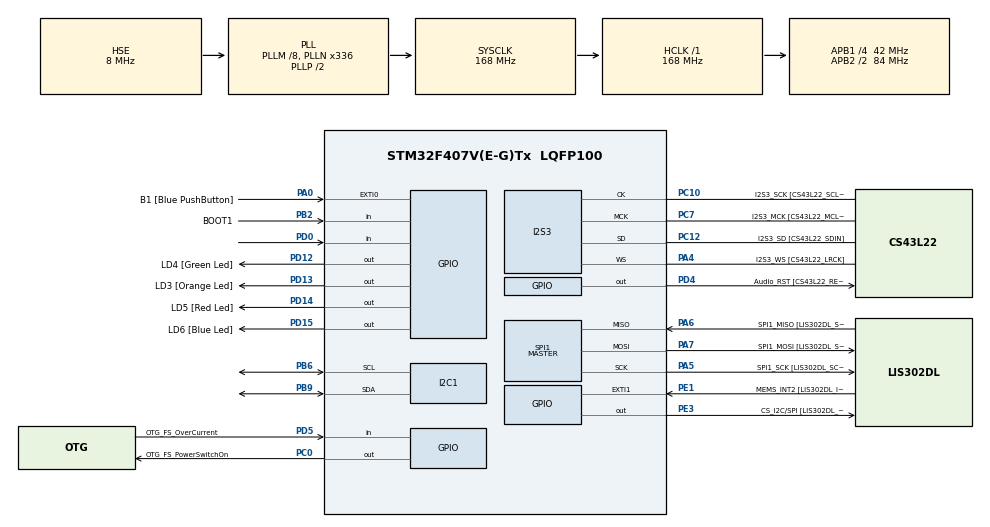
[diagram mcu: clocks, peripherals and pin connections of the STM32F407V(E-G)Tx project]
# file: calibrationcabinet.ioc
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FREERTOS.Events01=sysStateEventGroup,Dynamic,NULL
FREERTOS.INCLUDE_uxTaskGetStackHighWaterMark2=1
FREERTOS.Mutexes01=actuatorMutex,Dynamic,NULL,Available;i2cMutex,Dynamic,NULL,Available
FREERTOS.Queues01=sensorDataQueue,4,16,1,Dynamic,NULL,NULL;userCmdQueue,8,16,1,Dynamic,NULL,NULL;lcdRenderQueue,8,32,1,Dynamic,NULL,NULL
FREERTOS.Tasks01=supervisorTask,40,512,StartSupervisorTask,Default,NULL,Dynamic,NULL,NULL;controlTask,32,512,StartControlTask,Default,NULL,Dynamic,NULL,NULL;sensorTask,24,384,StartSensorTask,Default,NULL,Dynamic,NULL,NULL;commTask,24,512,StartCommTask,Default,NULL,Dynamic,NULL,NULL;uiTask,16,512,StartUiTask,Default,NULL,Dynamic,NULL,NULL
FREERTOS.Timers01=stableCheckTimer,stableCheckTimerCallback,osTimerPeriodic,Default,NULL,Dynamic,NULL
FREERTOS.configCHECK_FOR_STACK_OVERFLOW=2
FREERTOS.configTOTAL_HEAP_SIZE=20480
FREERTOS.configUSE_MALLOC_FAILED_HOOK=1
FREERTOS.configUSE_NEWLIB_REENTRANT=1
I2S3.AudioFreq-Half_Duplex_Master=I2S_AUDIOFREQ_96K
I2S3.ErrorAudioFreq=-2.34 %
I2S3.ErrorAudioFreq-Half_Duplex_Master=0.8 %
I2S3.FullDuplexMode=I2S_FULLDUPLEXMODE_DISABLE
I2S3.Instance=SPI$Index
I2S3.RealAudioFreq=93.75 KHz
I2S3.RealAudioFreq-Half_Duplex_Master=96.774 KHz
I2S3.VirtualMode=I2S_MODE_MASTER
Mcu.Family=STM32F4
Mcu.Name=STM32F407V(E-G)Tx
Mcu.Package=LQFP100
NVIC.PriorityGroup=NVIC_PRIORITYGROUP_4
NVIC.TIM6_DAC_IRQn=true\:15\:0\:false\:false\:true\:false\:false\:true\:true
NVIC.TimeBase=TIM6_DAC_IRQn
NVIC.TimeBaseIP=TIM6
PA0-WKUP.GPIO_Label=B1 [Blue PushButton]
PA0-WKUP.GPIO_ModeDefaultEXTI=GPIO_MODE_EVT_RISING
PA0-WKUP.GPIO_PuPd=GPIO_NOPULL
PA0-WKUP.Signal=GPXTI0
PA10.GPIO_Label=OTG_FS_ID
PA10.GPIO_Mode=GPIO_MODE_AF_PP
PA10.GPIO_PuPd=GPIO_NOPULL
PA10.GPIO_Speed=GPIO_SPEED_FREQ_LOW
PA10.Signal=USB_OTG_FS_ID
PA11.GPIO_Label=OTG_FS_DM
PA11.GPIO_Mode=GPIO_MODE_AF_PP
PA11.GPIO_PuPd=GPIO_NOPULL
PA11.GPIO_Speed=GPIO_SPEED_FREQ_LOW
PA11.Signal=USB_OTG_FS_DM
PA12.GPIO_Label=OTG_FS_DP
PA12.GPIO_Mode=GPIO_MODE_AF_PP
PA12.GPIO_PuPd=GPIO_NOPULL
PA12.GPIO_Speed=GPIO_SPEED_FREQ_LOW
PA12.Signal=USB_OTG_FS_DP
PA13.GPIO_Label=SWDIO
PA13.Mode=Serial_Wire
PA13.Signal=SYS_JTMS-SWDIO
PA14.GPIO_Label=SWCLK
PA14.Mode=Serial_Wire
PA14.Signal=SYS_JTCK-SWCLK
PA4.GPIO_Label=I2S3_WS [CS43L22_LRCK]
PA4.GPIO_Mode=GPIO_MODE_AF_PP
PA4.GPIO_PuPd=GPIO_NOPULL
PA4.GPIO_Speed=GPIO_SPEED_FREQ_LOW
PA4.Mode=Half_Duplex_Master
PA4.Signal=I2S3_WS
PA5.GPIO_Label=SPI1_SCK [LIS302DL_SCL/SPC]
PA5.GPIO_Mode=GPIO_MODE_AF_PP
PA5.GPIO_PuPd=GPIO_NOPULL
PA5.GPIO_Speed=GPIO_SPEED_FREQ_LOW
PA5.Mode=Full_Duplex_Master
PA5.Signal=SPI1_SCK
PA6.GPIO_Label=SPI1_MISO [LIS302DL_SDO]
PA6.GPIO_Mode=GPIO_MODE_AF_PP
PA6.GPIO_PuPd=GPIO_NOPULL
PA6.GPIO_Speed=GPIO_SPEED_FREQ_LOW
PA6.Mode=Full_Duplex_Master
PA6.Signal=SPI1_MISO
PA7.GPIO_Label=SPI1_MOSI [LIS302DL_SDA/SDI/SDO]
PA7.GPIO_Mode=GPIO_MODE_AF_PP
PA7.GPIO_PuPd=GPIO_NOPULL
PA7.GPIO_Speed=GPIO_SPEED_FREQ_LOW
PA7.Mode=Full_Duplex_Master
PA7.Signal=SPI1_MOSI
PA9.GPIO_Label=VBUS_FS
PA9.GPIO_Mode=GPIO_MODE_INPUT
PA9.GPIO_PuPd=GPIO_NOPULL
PA9.Signal=USB_OTG_FS_VBUS
PB10.GPIO_Label=CLK_IN [MP45DT02_CLK]
PB10.GPIO_Mode=GPIO_MODE_AF_PP
PB10.GPIO_PuPd=GPIO_NOPULL
PB10.GPIO_Speed=GPIO_SPEED_FREQ_LOW
PB10.Signal=I2S2_CK
PB2.GPIO_Label=BOOT1
PB2.GPIO_Mode=GPIO_MODE_INPUT
PB2.GPIO_PuPd=GPIO_NOPULL
PB2.Signal=GPIO_Input
PB3.GPIO_Label=SWO
PB3.Signal=SYS_JTDO-SWO
PB6.Mode=I2C
PB6.Signal=I2C1_SCL
PB9.Mode=I2C
PB9.Signal=I2C1_SDA
PC0.GPIO_Label=OTG_FS_PowerSwitchOn
PC0.GPIO_PuPd=GPIO_NOPULL
PC0.GPIO_Speed=GPIO_SPEED_FREQ_LOW
PC0.PinState=GPIO_PIN_SET
PC0.Signal=GPIO_Output
PC10.GPIO_Label=I2S3_SCK [CS43L22_SCLK]
PC10.GPIO_Mode=GPIO_MODE_AF_PP
PC10.GPIO_PuPd=GPIO_NOPULL
PC10.GPIO_Speed=GPIO_SPEED_FREQ_LOW
PC10.Mode=Half_Duplex_Master
PC10.Signal=I2S3_CK
PC12.GPIO_Label=I2S3_SD [CS43L22_SDIN]
PC12.GPIO_Mode=GPIO_MODE_AF_PP
PC12.GPIO_PuPd=GPIO_NOPULL
PC12.GPIO_Speed=GPIO_SPEED_FREQ_LOW
PC12.Mode=Half_Duplex_Master
PC12.Signal=I2S3_SD
PC14-OSC32_IN.GPIO_Label=PC14-OSC32_IN
PC14-OSC32_IN.Mode=LSE-External-Oscillator
PC14-OSC32_IN.Signal=RCC_OSC32_IN
PC15-OSC32_OUT.GPIO_Label=PC15-OSC32_OUT
PC15-OSC32_OUT.Mode=LSE-External-Oscillator
PC15-OSC32_OUT.Signal=RCC_OSC32_OUT
PC3.GPIO_Label=PDM_OUT [MP45DT02_DOUT]
PC3.GPIO_Mode=GPIO_MODE_AF_PP
PC3.GPIO_PuPd=GPIO_NOPULL
PC3.GPIO_Speed=GPIO_SPEED_FREQ_LOW
PC3.Signal=I2S2_SD
PC7.GPIO_Label=I2S3_MCK [CS43L22_MCLK]
PC7.GPIO_Mode=GPIO_MODE_AF_PP
PC7.GPIO_PuPd=GPIO_NOPULL
PC7.GPIO_Speed=GPIO_SPEED_FREQ_LOW
PC7.Mode=Master_Clock_Activated
PC7.Signal=I2S3_MCK
PD0.Signal=GPIO_Input
PD12.GPIO_Label=LD4 [Green Led]
PD12.GPIO_PuPd=GPIO_NOPULL
PD12.GPIO_Speed=GPIO_SPEED_FREQ_LOW
PD12.Signal=GPIO_Output
PD13.GPIO_Label=LD3 [Orange Led]
PD13.GPIO_PuPd=GPIO_NOPULL
PD13.GPIO_Speed=GPIO_SPEED_FREQ_LOW
PD13.Signal=GPIO_Output
PD14.GPIO_Label=LD5 [Red Led]
PD14.GPIO_PuPd=GPIO_NOPULL
PD14.GPIO_Speed=GPIO_SPEED_FREQ_LOW
PD14.Signal=GPIO_Output
PD15.GPIO_Label=LD6 [Blue Led]
PD15.GPIO_PuPd=GPIO_NOPULL
PD15.GPIO_Speed=GPIO_SPEED_FREQ_LOW
PD15.Signal=GPIO_Output
PD4.GPIO_Label=Audio_RST [CS43L22_RESET]
PD4.GPIO_PuPd=GPIO_NOPULL
PD4.GPIO_Speed=GPIO_SPEED_FREQ_LOW
PD4.Signal=GPIO_Output
PD5.GPIO_Label=OTG_FS_OverCurrent
PD5.GPIO_Mode=GPIO_MODE_INPUT
PD5.GPIO_PuPd=GPIO_NOPULL
PD5.Signal=GPIO_Input
PE1.GPIO_Label=MEMS_INT2 [LIS302DL_INT2]
PE1.GPIO_ModeDefaultEXTI=GPIO_MODE_EVT_RISING
PE1.GPIO_PuPd=GPIO_NOPULL
PE1.Signal=GPXTI1
PE3.GPIO_Label=CS_I2C/SPI [LIS302DL_CS_I2C/SPI]
PE3.GPIO_PuPd=GPIO_NOPULL
PE3.GPIO_Speed=GPIO_SPEED_FREQ_LOW
PE3.Signal=GPIO_Output
PH0-OSC_IN.GPIO_Label=PH0-OSC_IN
PH0-OSC_IN.Mode=HSE-External-Oscillator
PH0-OSC_IN.Signal=RCC_OSC_IN
PH1-OSC_OUT.GPIO_Label=PH1-OSC_OUT
PH1-OSC_OUT.Mode=HSE-External-Oscillator
PH1-OSC_OUT.Signal=RCC_OSC_OUT
ProjectManager.HeapSize=0x200
ProjectManager.StackSize=0x400
ProjectManager.TargetToolchain=STM32CubeIDE
RCC.48MHZClocksFreq_Value=48000000
RCC.AHBFreq_Value=168000000
RCC.APB1CLKDivider=RCC_HCLK_DIV4
RCC.APB1Freq_Value=42000000
RCC.APB1TimFreq_Value=84000000
RCC.APB2CLKDivider=RCC_HCLK_DIV2
RCC.APB2Freq_Value=84000000
RCC.APB2TimFreq_Value=168000000
RCC.CortexFreq_Value=168000000
RCC.HCLKFreq_Value=168000000
RCC.HSE_VALUE=8000000
RCC.HSI_VALUE=16000000
RCC.PLLM=8
RCC.PLLN=336
RCC.PLLQ=7
RCC.PLLSourceVirtual=RCC_PLLSOURCE_HSE
RCC.SYSCLKFreq_VALUE=168000000
RCC.SYSCLKSource=RCC_SYSCLKSOURCE_PLLCLK
RCC.VCOOutputFreq_Value=336000000
SPI1.BaudRatePrescaler-Full_Duplex_Master=SPI_BAUDRATEPRESCALER_2
SPI1.CalculateBaudRate-Full_Duplex_Master=42.0 MBits/s
SPI1.Direction=SPI_DIRECTION_2LINES
SPI1.Mode=SPI_MODE_MASTER
SPI1.Mode-Full_Duplex_Master=SPI_MODE_MASTER
SPI1.VirtualType=VM_MASTER
VP_FREERTOS_VS_CMSIS_V2.Mode=CMSIS_V2
VP_SYS_VS_tim6.Mode=TIM6
board=STM32F407G-DISC1

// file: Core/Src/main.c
/* USER CODE BEGIN Header */
/**
  ******************************************************************************
  * @file           : main.c
  * @brief          : Main program body
  ******************************************************************************
  * @attention
  *
  * Copyright (c) 2026 STMicroelectronics.
  * All rights reserved.
  *
  * This software is licensed under terms that can be found in the LICENSE file
  * in the root directory of this software component.
  * If no LICENSE file comes with this software, it is provided AS-IS.
  *
  ******************************************************************************
  */
/* USER CODE END Header */
#include "main.h"
#include "cmsis_os.h"

/* USER CODE BEGIN Includes */
#include "cabinet_ui.h"
#include "comms.h"
#include "dhtsensor.h"
#include "humidity.h"
#include "state_machine.h"
#include "thermal.h"
/* USER CODE END Includes */

/* USER CODE BEGIN PD */
#define SENSOR_PERIOD_MS         2000U
#define CONTROL_QUEUE_TIMEOUT_MS 2500U
#define UI_PERIOD_MS               20U
#define COMMS_PERIOD_MS            50U
#define SUPERVISOR_PERIOD_MS     1000U
/* USER CODE END PD */

I2C_HandleTypeDef hi2c1;

I2S_HandleTypeDef hi2s3;

SPI_HandleTypeDef hspi1;

/* Definitions for supervisorTask */
osThreadId_t supervisorTaskHandle;
const osThreadAttr_t supervisorTask_attributes = {
  .name = "supervisorTask",
  .stack_size = 512 * 4,
  .priority = (osPriority_t) osPriorityHigh,
};
/* Definitions for controlTask */
osThreadId_t controlTaskHandle;
const osThreadAttr_t controlTask_attributes = {
  .name = "controlTask",
  .stack_size = 512 * 4,
  .priority = (osPriority_t) osPriorityAboveNormal,
};
/* Definitions for sensorTask */
osThreadId_t sensorTaskHandle;
const osThreadAttr_t sensorTask_attributes = {
  .name = "sensorTask",
  .stack_size = 384 * 4,
  .priority = (osPriority_t) osPriorityNormal,
};
/* Definitions for commTask */
osThreadId_t commTaskHandle;
const osThreadAttr_t commTask_attributes = {
  .name = "commTask",
  .stack_size = 512 * 4,
  .priority = (osPriority_t) osPriorityNormal,
};
/* Definitions for uiTask */
osThreadId_t uiTaskHandle;
const osThreadAttr_t uiTask_attributes = {
  .name = "uiTask",
  .stack_size = 1024 * 4,
  .priority = (osPriority_t) osPriorityBelowNormal,
};
/* Definitions for sensorDataQueue */
osMessageQueueId_t sensorDataQueueHandle;
const osMessageQueueAttr_t sensorDataQueue_attributes = {
  .name = "sensorDataQueue"
};
/* Definitions for userCmdQueue */
osMessageQueueId_t userCmdQueueHandle;
const osMessageQueueAttr_t userCmdQueue_attributes = {
  .name = "userCmdQueue"
};
/* Definitions for lcdRenderQueue */
osMessageQueueId_t lcdRenderQueueHandle;
const osMessageQueueAttr_t lcdRenderQueue_attributes = {
  .name = "lcdRenderQueue"
};
/* Definitions for stableCheckTimer */
osTimerId_t stableCheckTimerHandle;
const osTimerAttr_t stableCheckTimer_attributes = {
  .name = "stableCheckTimer"
};
/* Definitions for actuatorMutex */
osMutexId_t actuatorMutexHandle;
const osMutexAttr_t actuatorMutex_attributes = {
  .name = "actuatorMutex"
};
/* Definitions for i2cMutex */
osMutexId_t i2cMutexHandle;
const osMutexAttr_t i2cMutex_attributes = {
  .name = "i2cMutex"
};
/* Definitions for sysStateEventGroup */
osEventFlagsId_t sysStateEventGroupHandle;
const osEventFlagsAttr_t sysStateEventGroup_attributes = {
  .name = "sysStateEventGroup"
};

void SystemClock_Config(void);
static void MX_GPIO_Init(void);
static void MX_I2C1_Init(void);
static void MX_I2S3_Init(void);
static void MX_SPI1_Init(void);
void StartSupervisorTask(void *argument);
void StartControlTask(void *argument);
void StartSensorTask(void *argument);
void StartCommTask(void *argument);
void StartUiTask(void *argument);
void stableCheckTimerCallback(void *argument);

int main(void)
{

  /* MCU Configuration--------------------------------------------------------*/

  /* Reset of all peripherals, Initializes the Flash interface and the Systick. */
  HAL_Init();

  /* Configure the system clock */
  SystemClock_Config();

  /* Initialize all configured peripherals */
  MX_GPIO_Init();
  MX_I2C1_Init();
  MX_I2S3_Init();
  MX_SPI1_Init();
  /* USER CODE BEGIN 2 */
  CabinetUI_Init(&hi2c1);
  DHT22_Init(GPIOD, GPIO_PIN_0);
  Thermal_Init(&k_default_pid);
  Humidity_Init();
  Comms_Init();
  Thermal_ApplyOutput(0.0f);
  Humidity_AllOff();
  /* USER CODE END 2 */

  /* Init scheduler */
  osKernelInitialize();
  /* Create the mutex(es) */
  /* creation of actuatorMutex */
  actuatorMutexHandle = osMutexNew(&actuatorMutex_attributes);

  /* creation of i2cMutex */
  i2cMutexHandle = osMutexNew(&i2cMutex_attributes);

  /* Create the timer(s) */
  /* creation of stableCheckTimer */
  stableCheckTimerHandle = osTimerNew(stableCheckTimerCallback, osTimerPeriodic, NULL, &stableCheckTimer_attributes);

  /* USER CODE BEGIN RTOS_TIMERS */
  /* Stable-check timer is always running; the callback gates on FSM state
   * (RUNNING/STANDBY) per TDR §3.4. */
  osTimerStart(stableCheckTimerHandle, 1000U);
  /* USER CODE END RTOS_TIMERS */

  /* Create the queue(s) */
  /* creation of sensorDataQueue */
  sensorDataQueueHandle = osMessageQueueNew (4, 16, &sensorDataQueue_attributes);

  /* creation of userCmdQueue */
  userCmdQueueHandle = osMessageQueueNew (8, 16, &userCmdQueue_attributes);

  /* creation of lcdRenderQueue */
  lcdRenderQueueHandle = osMessageQueueNew (8, 32, &lcdRenderQueue_attributes);

  /* Create the thread(s) */
  /* creation of supervisorTask */
  supervisorTaskHandle = osThreadNew(StartSupervisorTask, NULL, &supervisorTask_attributes);

  /* creation of controlTask */
  controlTaskHandle = osThreadNew(StartControlTask, NULL, &controlTask_attributes);

  /* creation of sensorTask */
  sensorTaskHandle = osThreadNew(StartSensorTask, NULL, &sensorTask_attributes);

  /* creation of commTask */
  commTaskHandle = osThreadNew(StartCommTask, NULL, &commTask_attributes);

  /* creation of uiTask */
  uiTaskHandle = osThreadNew(StartUiTask, NULL, &uiTask_attributes);

  /* creation of sysStateEventGroup */
  sysStateEventGroupHandle = osEventFlagsNew(&sysStateEventGroup_attributes);

  /* Start scheduler */
  osKernelStart();

  /* We should never get here as control is now taken by the scheduler */

  /* Infinite loop */
  while (1)
  {

  }
}

void SystemClock_Config(void)
{
  RCC_OscInitTypeDef RCC_OscInitStruct = {0};
  RCC_ClkInitTypeDef RCC_ClkInitStruct = {0};

  /** Configure the main internal regulator output voltage
  */
  __HAL_RCC_PWR_CLK_ENABLE();
  __HAL_PWR_VOLTAGESCALING_CONFIG(PWR_REGULATOR_VOLTAGE_SCALE1);

  /** Initializes the RCC Oscillators according to the specified parameters
  * in the RCC_OscInitTypeDef structure.
  */
  RCC_OscInitStruct.OscillatorType = RCC_OSCILLATORTYPE_HSE;
  RCC_OscInitStruct.HSEState = RCC_HSE_ON;
  RCC_OscInitStruct.PLL.PLLState = RCC_PLL_ON;
  RCC_OscInitStruct.PLL.PLLSource = RCC_PLLSOURCE_HSE;
  RCC_OscInitStruct.PLL.PLLM = 8;
  RCC_OscInitStruct.PLL.PLLN = 336;
  RCC_OscInitStruct.PLL.PLLP = RCC_PLLP_DIV2;
  RCC_OscInitStruct.PLL.PLLQ = 7;
  if (HAL_RCC_OscConfig(&RCC_OscInitStruct) != HAL_OK)
  {
    Error_Handler();
  }

  /** Initializes the CPU, AHB and APB buses clocks
  */
  RCC_ClkInitStruct.ClockType = RCC_CLOCKTYPE_HCLK|RCC_CLOCKTYPE_SYSCLK
                              |RCC_CLOCKTYPE_PCLK1|RCC_CLOCKTYPE_PCLK2;
  RCC_ClkInitStruct.SYSCLKSource = RCC_SYSCLKSOURCE_PLLCLK;
  RCC_ClkInitStruct.AHBCLKDivider = RCC_SYSCLK_DIV1;
  RCC_ClkInitStruct.APB1CLKDivider = RCC_HCLK_DIV4;
  RCC_ClkInitStruct.APB2CLKDivider = RCC_HCLK_DIV2;

  if (HAL_RCC_ClockConfig(&RCC_ClkInitStruct, FLASH_LATENCY_5) != HAL_OK)
  {
    Error_Handler();
  }
}

static void MX_I2C1_Init(void)
{

  hi2c1.Instance = I2C1;
  hi2c1.Init.ClockSpeed = 50000;
  hi2c1.Init.DutyCycle = I2C_DUTYCYCLE_2;
  hi2c1.Init.OwnAddress1 = 0;
  hi2c1.Init.AddressingMode = I2C_ADDRESSINGMODE_7BIT;
  hi2c1.Init.DualAddressMode = I2C_DUALADDRESS_DISABLE;
  hi2c1.Init.OwnAddress2 = 0;
  hi2c1.Init.GeneralCallMode = I2C_GENERALCALL_DISABLE;
  hi2c1.Init.NoStretchMode = I2C_NOSTRETCH_DISABLE;
  if (HAL_I2C_Init(&hi2c1) != HAL_OK)
  {
    Error_Handler();
  }

}

static void MX_I2S3_Init(void)
{

  hi2s3.Instance = SPI3;
  hi2s3.Init.Mode = I2S_MODE_MASTER_TX;
  hi2s3.Init.Standard = I2S_STANDARD_PHILIPS;
  hi2s3.Init.DataFormat = I2S_DATAFORMAT_16B;
  hi2s3.Init.MCLKOutput = I2S_MCLKOUTPUT_ENABLE;
  hi2s3.Init.AudioFreq = I2S_AUDIOFREQ_96K;
  hi2s3.Init.CPOL = I2S_CPOL_LOW;
  hi2s3.Init.ClockSource = I2S_CLOCK_PLL;
  hi2s3.Init.FullDuplexMode = I2S_FULLDUPLEXMODE_DISABLE;
  if (HAL_I2S_Init(&hi2s3) != HAL_OK)
  {
    Error_Handler();
  }

}

static void MX_SPI1_Init(void)
{

  /* SPI1 parameter configuration*/
  hspi1.Instance = SPI1;
  hspi1.Init.Mode = SPI_MODE_MASTER;
  hspi1.Init.Direction = SPI_DIRECTION_2LINES;
  hspi1.Init.DataSize = SPI_DATASIZE_8BIT;
  hspi1.Init.CLKPolarity = SPI_POLARITY_LOW;
  hspi1.Init.CLKPhase = SPI_PHASE_1EDGE;
  hspi1.Init.NSS = SPI_NSS_SOFT;
  hspi1.Init.BaudRatePrescaler = SPI_BAUDRATEPRESCALER_2;
  hspi1.Init.FirstBit = SPI_FIRSTBIT_MSB;
  hspi1.Init.TIMode = SPI_TIMODE_DISABLE;
  hspi1.Init.CRCCalculation = SPI_CRCCALCULATION_DISABLE;
  hspi1.Init.CRCPolynomial = 10;
  if (HAL_SPI_Init(&hspi1) != HAL_OK)
  {
    Error_Handler();
  }

}

static void MX_GPIO_Init(void)
{
  GPIO_InitTypeDef GPIO_InitStruct = {0};

  /* GPIO Ports Clock Enable */
  __HAL_RCC_GPIOE_CLK_ENABLE();
  __HAL_RCC_GPIOC_CLK_ENABLE();
  __HAL_RCC_GPIOH_CLK_ENABLE();
  __HAL_RCC_GPIOA_CLK_ENABLE();
  __HAL_RCC_GPIOB_CLK_ENABLE();
  __HAL_RCC_GPIOD_CLK_ENABLE();

  /*Configure GPIO pin Output Level */
  HAL_GPIO_WritePin(CS_I2C_SPI_GPIO_Port, CS_I2C_SPI_Pin, GPIO_PIN_RESET);

  /*Configure GPIO pin Output Level */
  HAL_GPIO_WritePin(OTG_FS_PowerSwitchOn_GPIO_Port, OTG_FS_PowerSwitchOn_Pin, GPIO_PIN_SET);

  /*Configure GPIO pin Output Level */
  HAL_GPIO_WritePin(GPIOD, LD4_Pin|LD3_Pin|LD5_Pin|LD6_Pin
                          |Audio_RST_Pin, GPIO_PIN_RESET);

  /*Configure GPIO pin : CS_I2C_SPI_Pin */
  GPIO_InitStruct.Pin = CS_I2C_SPI_Pin;
  GPIO_InitStruct.Mode = GPIO_MODE_OUTPUT_PP;
  GPIO_InitStruct.Pull = GPIO_NOPULL;
  GPIO_InitStruct.Speed = GPIO_SPEED_FREQ_LOW;
  HAL_GPIO_Init(CS_I2C_SPI_GPIO_Port, &GPIO_InitStruct);

  /*Configure GPIO pin : OTG_FS_PowerSwitchOn_Pin */
  GPIO_InitStruct.Pin = OTG_FS_PowerSwitchOn_Pin;
  GPIO_InitStruct.Mode = GPIO_MODE_OUTPUT_PP;
  GPIO_InitStruct.Pull = GPIO_NOPULL;
  GPIO_InitStruct.Speed = GPIO_SPEED_FREQ_LOW;
  HAL_GPIO_Init(OTG_FS_PowerSwitchOn_GPIO_Port, &GPIO_InitStruct);

  /*Configure GPIO pin : PDM_OUT_Pin */
  GPIO_InitStruct.Pin = PDM_OUT_Pin;
  GPIO_InitStruct.Mode = GPIO_MODE_AF_PP;
  GPIO_InitStruct.Pull = GPIO_NOPULL;
  GPIO_InitStruct.Speed = GPIO_SPEED_FREQ_LOW;
  GPIO_InitStruct.Alternate = GPIO_AF5_SPI2;
  HAL_GPIO_Init(PDM_OUT_GPIO_Port, &GPIO_InitStruct);

  /*Configure GPIO pin : B1_Pin */
  GPIO_InitStruct.Pin = B1_Pin;
  GPIO_InitStruct.Mode = GPIO_MODE_EVT_RISING;
  GPIO_InitStruct.Pull = GPIO_NOPULL;
  HAL_GPIO_Init(B1_GPIO_Port, &GPIO_InitStruct);

  /*Configure GPIO pin : BOOT1_Pin */
  GPIO_InitStruct.Pin = BOOT1_Pin;
  GPIO_InitStruct.Mode = GPIO_MODE_INPUT;
  GPIO_InitStruct.Pull = GPIO_NOPULL;
  HAL_GPIO_Init(BOOT1_GPIO_Port, &GPIO_InitStruct);

  /*Configure GPIO pin : CLK_IN_Pin */
  GPIO_InitStruct.Pin = CLK_IN_Pin;
  GPIO_InitStruct.Mode = GPIO_MODE_AF_PP;
  GPIO_InitStruct.Pull = GPIO_NOPULL;
  GPIO_InitStruct.Speed = GPIO_SPEED_FREQ_LOW;
  GPIO_InitStruct.Alternate = GPIO_AF5_SPI2;
  HAL_GPIO_Init(CLK_IN_GPIO_Port, &GPIO_InitStruct);

  /*Configure GPIO pins : LD4_Pin LD3_Pin LD5_Pin LD6_Pin
                           Audio_RST_Pin */
  GPIO_InitStruct.Pin = LD4_Pin|LD3_Pin|LD5_Pin|LD6_Pin
                          |Audio_RST_Pin;
  GPIO_InitStruct.Mode = GPIO_MODE_OUTPUT_PP;
  GPIO_InitStruct.Pull = GPIO_NOPULL;
  GPIO_InitStruct.Speed = GPIO_SPEED_FREQ_LOW;
  HAL_GPIO_Init(GPIOD, &GPIO_InitStruct);

  /*Configure GPIO pin : VBUS_FS_Pin */
  GPIO_InitStruct.Pin = VBUS_FS_Pin;
  GPIO_InitStruct.Mode = GPIO_MODE_INPUT;
  GPIO_InitStruct.Pull = GPIO_NOPULL;
  HAL_GPIO_Init(VBUS_FS_GPIO_Port, &GPIO_InitStruct);

  /*Configure GPIO pins : OTG_FS_ID_Pin OTG_FS_DM_Pin OTG_FS_DP_Pin */
  GPIO_InitStruct.Pin = OTG_FS_ID_Pin|OTG_FS_DM_Pin|OTG_FS_DP_Pin;
  GPIO_InitStruct.Mode = GPIO_MODE_AF_PP;
  GPIO_InitStruct.Pull = GPIO_NOPULL;
  GPIO_InitStruct.Speed = GPIO_SPEED_FREQ_LOW;
  GPIO_InitStruct.Alternate = GPIO_AF10_OTG_FS;
  HAL_GPIO_Init(GPIOA, &GPIO_InitStruct);

  /*Configure GPIO pins : PD0 OTG_FS_OverCurrent_Pin */
  GPIO_InitStruct.Pin = GPIO_PIN_0|OTG_FS_OverCurrent_Pin;
  GPIO_InitStruct.Mode = GPIO_MODE_INPUT;
  GPIO_InitStruct.Pull = GPIO_NOPULL;
  HAL_GPIO_Init(GPIOD, &GPIO_InitStruct);

  /*Configure GPIO pin : MEMS_INT2_Pin */
  GPIO_InitStruct.Pin = MEMS_INT2_Pin;
  GPIO_InitStruct.Mode = GPIO_MODE_EVT_RISING;
  GPIO_InitStruct.Pull = GPIO_NOPULL;
  HAL_GPIO_Init(MEMS_INT2_GPIO_Port, &GPIO_InitStruct);

  /* USER CODE BEGIN MX_GPIO_Init_2 */
  HAL_GPIO_WritePin(GPIOE, KEYPAD_R1_Pin|KEYPAD_R2_Pin|KEYPAD_R3_Pin|KEYPAD_R4_Pin, GPIO_PIN_SET);

  GPIO_InitStruct.Pin = KEYPAD_R1_Pin|KEYPAD_R2_Pin|KEYPAD_R3_Pin|KEYPAD_R4_Pin;
  GPIO_InitStruct.Mode = GPIO_MODE_OUTPUT_PP;
  GPIO_InitStruct.Pull = GPIO_NOPULL;
  GPIO_InitStruct.Speed = GPIO_SPEED_FREQ_LOW;
  HAL_GPIO_Init(GPIOE, &GPIO_InitStruct);

  GPIO_InitStruct.Pin = KEYPAD_C1_Pin|KEYPAD_C2_Pin|KEYPAD_C3_Pin|KEYPAD_C4_Pin;
  GPIO_InitStruct.Mode = GPIO_MODE_INPUT;
  GPIO_InitStruct.Pull = GPIO_PULLUP;
  HAL_GPIO_Init(GPIOE, &GPIO_InitStruct);

  /* B1 user button as EXTI rising edge → posts EV_STOP to FSM. Override the
   * CubeMX-generated EVT_RISING mode (event-only, no IRQ). */
  GPIO_InitStruct.Pin  = B1_Pin;
  GPIO_InitStruct.Mode = GPIO_MODE_IT_RISING;
  GPIO_InitStruct.Pull = GPIO_NOPULL;
  HAL_GPIO_Init(B1_GPIO_Port, &GPIO_InitStruct);

  /* Priority must be >= configMAX_SYSCALL_INTERRUPT_PRIORITY (default 5) so
   * the ISR can call FreeRTOS API. */
  HAL_NVIC_SetPriority(EXTI0_IRQn, 6, 0);
  HAL_NVIC_EnableIRQ(EXTI0_IRQn);
  /* USER CODE END MX_GPIO_Init_2 */
}

/* USER CODE BEGIN 4 */
void HAL_GPIO_EXTI_Callback(uint16_t GPIO_Pin)
{
  if (GPIO_Pin == B1_Pin)
  {
    StateMachine_PostEvent(EV_STOP);
  }
}
/* USER CODE END 4 */

void StartSupervisorTask(void *argument)
{
  /* USER CODE BEGIN 5 */
  (void)argument;
  StateMachine_Init();
  for (;;)
  {
    StateMachine_RunStep();
  }
  /* USER CODE END 5 */
}

void StartControlTask(void *argument)
{
  /* USER CODE BEGIN StartControlTask */
  (void)argument;

  sensor_frame_t f;
  uint32_t       last_pid_tick = osKernelGetTickCount();

  for (;;)
  {
    osStatus_t st = osMessageQueueGet(sensorDataQueueHandle, &f, NULL,
                                      CONTROL_QUEUE_TIMEOUT_MS);

    /* Sensor task silent → safe-state actuators and notify FSM. */
    if (st != osOK)
    {
      Thermal_SetEnabled(0U);
      Thermal_Reset();
      Humidity_AllOff();
      StateMachine_PostEvent(EV_SENSOR_TIMEOUT);
      last_pid_tick = osKernelGetTickCount();
      continue;
    }

    /* Drive FSM from sensor frame quality. */
    if (f.consecutive_fails >= COMMS_SENSOR_FAIL_THRESHOLD) {
      StateMachine_PostEvent(EV_SENSOR_FAULT);
    }
    if ((f.valid != 0U) && (f.temperature_c > COMMS_OVER_TEMP_LIMIT_C)) {
      StateMachine_PostEvent(EV_OVER_TEMP);
    }

    const CabinetUI_SettingsTypeDef *settings = CabinetUI_GetSettings();
    float setpoint_temp_c = (float)settings->set_temperature_x10 / 10.0f;
    float setpoint_hum_rh = (float)settings->set_humidity;

    /* Push snapshot for the stable-check timer. Always update so the timer
     * sees fresh data even when actuators are disabled. */
    StateMachine_UpdatePidSnapshot(f.temperature_c, f.humidity_rh,
                                   setpoint_temp_c, setpoint_hum_rh);

    system_state_t state             = StateMachine_Get();
    uint8_t        actuators_enabled = ((state == STATE_RUNNING) ||
                                        (state == STATE_STANDBY)) &&
                                       (f.valid != 0U);

    uint32_t now  = osKernelGetTickCount();
    float    dt_s = (float)(now - last_pid_tick) / (float)osKernelGetTickFreq();
    last_pid_tick = now;
    /* First iteration after enable / queue-timeout recovery: clamp dt to a
     * sane value so the integrator/derivative don't see a giant first step. */
    if (dt_s <= 0.0f || dt_s > 5.0f) {
      dt_s = 1.0f;
    }

    if (actuators_enabled)
    {
      Thermal_SetEnabled(1U);
      Thermal_SetSetpoint(setpoint_temp_c);
      float u = Thermal_Step(f.temperature_c, dt_s);
      Thermal_ApplyOutput(u);
      Humidity_Step(f.humidity_rh, setpoint_hum_rh);
    }
    else
    {
      Thermal_SetEnabled(0U);
      Thermal_Reset();
      Humidity_AllOff();
    }

    /* Telemetry alarm bitmask is informational; FSM is authoritative for state. */
    uint8_t alarm_mask = Comms_ComputeAlarms(f.consecutive_fails, f.temperature_c);
    Comms_SendTelemetry(f.temperature_c, f.humidity_rh,
                        setpoint_temp_c, setpoint_hum_rh,
                        state, alarm_mask);
  }
  /* USER CODE END StartControlTask */
}

void StartSensorTask(void *argument)
{
  /* USER CODE BEGIN StartSensorTask */
  (void)argument;

  uint32_t       consecutive_fails  = 0U;
  uint8_t        first_reading_sent = 0U;
  uint32_t       last_wake          = osKernelGetTickCount();
  sensor_frame_t f                  = {0};

  for (;;)
  {
    float t = 0.0f;
    float h = 0.0f;

    if (DHT22_GetValues(&t, &h) == DHT22_OK)
    {
      const CabinetUI_SettingsTypeDef *settings = CabinetUI_GetSettings();
      float t_cal = t + ((float)settings->calibration_offset_x10 / 10.0f);

      f.temperature_c     = t_cal;
      f.humidity_rh       = h;
      f.valid             = 1U;
      consecutive_fails   = 0U;
      f.consecutive_fails = 0U;

      CabinetUI_SetCurrentValues(t_cal, h);

      if (first_reading_sent == 0U) {
        StateMachine_NotifyFirstReading();
        first_reading_sent = 1U;
      }
    }
    else
    {
      f.valid = 0U;
      if (consecutive_fails < UINT32_MAX) {
        consecutive_fails++;
      }
      f.consecutive_fails = consecutive_fails;
    }

    /* Drop on full queue: control task is slower than sensor cadence by
     * design; a backlog signals control-task stall, not normal load. */
    (void)osMessageQueuePut(sensorDataQueueHandle, &f, 0U, 0U);

    osDelayUntil(last_wake + SENSOR_PERIOD_MS);
    last_wake += SENSOR_PERIOD_MS;
  }
  /* USER CODE END StartSensorTask */
}

void StartCommTask(void *argument)
{
  /* USER CODE BEGIN StartCommTask */
  (void)argument;

  uint32_t last_wake = osKernelGetTickCount();
  for (;;)
  {
    Comms_Process();
    osDelayUntil(last_wake + COMMS_PERIOD_MS);
    last_wake += COMMS_PERIOD_MS;
  }
  /* USER CODE END StartCommTask */
}

void StartUiTask(void *argument)
{
  /* USER CODE BEGIN StartUiTask */
  (void)argument;

  uint32_t last_wake = osKernelGetTickCount();
  for (;;)
  {
    /* Heartbeat: LD4 (green, PD12) toggles every cycle. If the LCD freezes
     * but this LED keeps blinking, uiTask is alive — likely stuck in an LCD
     * I2C transaction. If it stops, uiTask itself is dead. */
    HAL_GPIO_TogglePin(GPIOD, LD4_Pin);

    CabinetUI_Process();
    osDelayUntil(last_wake + UI_PERIOD_MS);
    last_wake += UI_PERIOD_MS;
  }
  /* USER CODE END StartUiTask */
}

/* stableCheckTimerCallback function */
void stableCheckTimerCallback(void *argument)
{
  /* USER CODE BEGIN stableCheckTimerCallback */
  (void)argument;
  StateMachine_StableCheck();
  /* USER CODE END stableCheckTimerCallback */
}

void HAL_TIM_PeriodElapsedCallback(TIM_HandleTypeDef *htim)
{
  if (htim->Instance == TIM6)
  {
    HAL_IncTick();
  }
}

void Error_Handler(void)
{
  /* USER CODE BEGIN Error_Handler_Debug */
  /* All four LEDs blink in sync = FreeRTOS hook fault (stack overflow / malloc
   * failed) or HAL error. Single-LED blink = CPU fault — see stm32f4xx_it.c. */
  __HAL_RCC_GPIOD_CLK_ENABLE();
  for (;;)
  {
    HAL_GPIO_TogglePin(GPIOD, LD3_Pin | LD4_Pin | LD5_Pin | LD6_Pin);
    for (volatile uint32_t i = 0U; i < 400000U; i++) { __NOP(); }
  }
  /* USER CODE END Error_Handler_Debug */
}

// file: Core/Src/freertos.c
/* USER CODE BEGIN Header */
/**
  ******************************************************************************
  * File Name          : freertos.c
  * Description        : Code for freertos applications
  ******************************************************************************
  * @attention
  *
  * Copyright (c) 2026 STMicroelectronics.
  * All rights reserved.
  *
  * This software is licensed under terms that can be found in the LICENSE file
  * in the root directory of this software component.
  * If no LICENSE file comes with this software, it is provided AS-IS.
  *
  ******************************************************************************
  */
/* USER CODE END Header */

#include "FreeRTOS.h"
#include "task.h"
#include "main.h"

/* Hook prototypes */
void vApplicationStackOverflowHook(xTaskHandle xTask, signed char *pcTaskName);
void vApplicationMallocFailedHook(void);

/* USER CODE BEGIN 4 */
void vApplicationStackOverflowHook(xTaskHandle xTask, signed char *pcTaskName)
{
  (void)xTask;
  (void)pcTaskName;
  Error_Handler();
}
/* USER CODE END 4 */

/* USER CODE BEGIN 5 */
void vApplicationMallocFailedHook(void)
{
  Error_Handler();
}
/* USER CODE END 5 */
